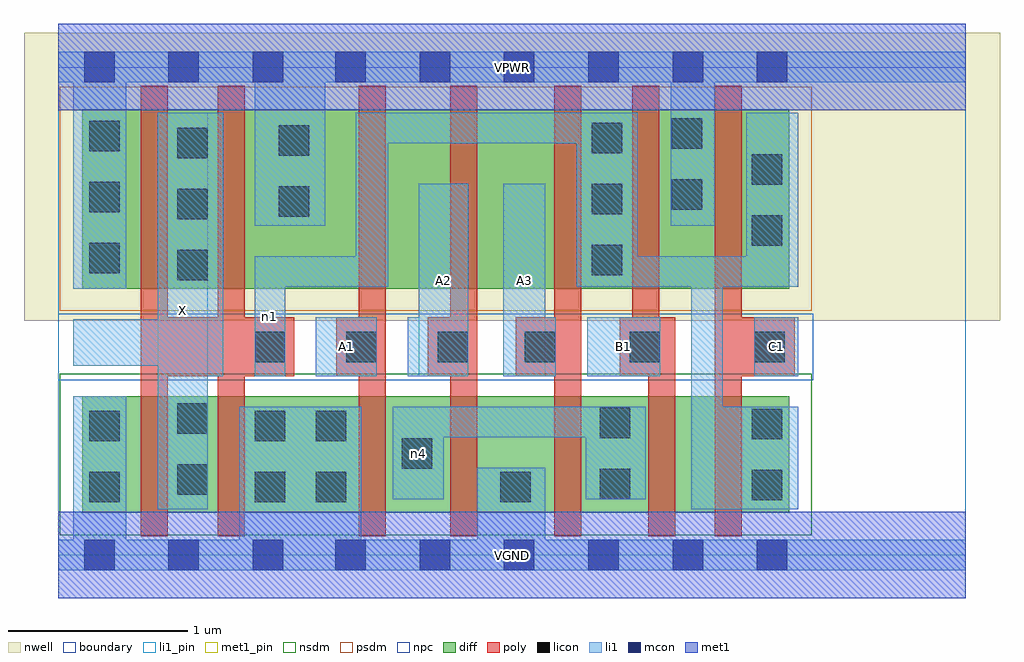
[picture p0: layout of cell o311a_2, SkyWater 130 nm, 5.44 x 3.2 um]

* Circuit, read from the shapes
.subckt o311a_2 A1 A2 A3 B1 C1 VGND VPWR X n1 n4
XM1 X n1 VGND VSUBS sky130_fd_pr__nfet_01v8 w=0.65 l=0.15 m=2
XM2 n4 A1 VGND VSUBS sky130_fd_pr__nfet_01v8 w=0.65 l=0.15
XM3 VGND A2 n4 VSUBS sky130_fd_pr__nfet_01v8 w=0.65 l=0.15
XM4 n4 A3 VGND VSUBS sky130_fd_pr__nfet_01v8 w=0.65 l=0.15
XM5 n2 B1 n4 VSUBS sky130_fd_pr__nfet_01v8 w=0.65 l=0.15
XM6 n1 C1 n2 VSUBS sky130_fd_pr__nfet_01v8 w=0.65 l=0.15
XM7 X n1 VPWR n3 sky130_fd_pr__pfet_01v8 w=1 l=0.15 m=2
XM8 n5 A1 VPWR n3 sky130_fd_pr__pfet_01v8 w=1 l=0.15
XM9 n6 A2 n5 n3 sky130_fd_pr__pfet_01v8 w=1 l=0.15
XM10 n1 A3 n6 n3 sky130_fd_pr__pfet_01v8 w=1 l=0.15
XM11 VPWR B1 n1 n3 sky130_fd_pr__pfet_01v8 w=1 l=0.15
XM12 n1 C1 VPWR n3 sky130_fd_pr__pfet_01v8 w=1 l=0.15
.ends

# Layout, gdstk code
import gdstk
lib = gdstk.Library(unit=1e-6, precision=1e-09)
def R(c, l, rs):  # rectangles x0, y0, x1, y1
    for r in rs: c.add(gdstk.rectangle(r[:2], r[2:], *l))
def A(c, l, x, y, w, h, nx, ny, dx, dy):  # array of equal rectangles
    R(c, l, [(x+i*dx, y+j*dy, x+i*dx+w, y+j*dy+h) for i in range(nx) for j in range(ny)])
nwell = (64, 20)
diff = (65, 20)
poly = (66, 20)
licon = (66, 44)
li1_pin = (67, 16)
li1 = (67, 20)
mcon = (67, 44)
met1_pin = (68, 16)
met1 = (68, 20)
nsdm = (93, 44)
psdm = (94, 20)
npc = (95, 20)
boundary = (235, 4)

o311a_2 = lib.new_cell('o311a_2')
R(o311a_2, nwell, [(-0.19,1.305,5.25,2.91), (0,1.305,5.06,2.91)])
R(o311a_2, diff, [(0.135,0.235,4.075,0.885), (0.135,1.485,4.075,2.485)])
R(o311a_2, poly, [(0.46,0.105,0.61,2.615), (0.89,0.105,1.04,2.615), (1.675,0.105,1.825,2.615), (2.185,0.105,2.335,2.615), (2.765,0.105,2.915,2.615), (3.29,0.105,3.44,1.325), (3.66,0.105,3.81,2.615), (0.46,0.995,1.315,1.325), (1.55,0.995,1.825,1.325), (2.06,0.995,2.335,1.325), (2.55,0.995,2.915,1.325), (3.13,0.995,3.44,1.325), (3.2,0.995,3.35,2.615), (3.66,0.995,4.105,1.325)])
A(o311a_2, licon, 1.095, 1.075, 0.17, 0.17, 3, 1, 0.51, 0)
A(o311a_2, licon, 0.665, 1.53, 0.17, 0.17, 1, 3, 0, 0.34)
A(o311a_2, licon, 2.975, 1.56, 0.17, 0.17, 1, 3, 0, 0.34)
A(o311a_2, licon, 0.175, 1.57, 0.17, 0.17, 1, 3, 0, 0.34)
R(o311a_2, licon, [(0.175,0.295,0.345,0.465), (1.095,0.295,1.265,0.465), (1.435,0.295,1.605,0.465), (2.465,0.295,2.635,0.465), (3.865,0.305,4.035,0.475), (3.02,0.31,3.19,0.48), (0.665,0.335,0.835,0.505), (1.915,0.48,2.085,0.65), (0.175,0.635,0.345,0.805), (1.095,0.635,1.265,0.805), (1.435,0.635,1.605,0.805), (3.865,0.645,4.035,0.815), (3.02,0.65,3.19,0.82), (0.665,0.675,0.835,0.845), (2.6,1.075,2.77,1.245), (3.185,1.075,3.355,1.245), (3.88,1.075,4.05,1.245), (3.865,1.725,4.035,1.895), (1.23,1.885,1.4,2.055), (3.42,1.925,3.59,2.095), (3.865,2.065,4.035,2.235), (1.23,2.225,1.4,2.395), (3.42,2.265,3.59,2.435)])
R(o311a_2, li1_pin, [(0.555,0.255,0.835,2.465), (1.435,0.995,1.775,1.325), (2.01,0.995,2.285,2.07), (2.48,0.995,2.715,2.07), (2.95,0.995,3.355,1.325), (3.88,0.995,4.125,1.325)])
R(o311a_2, li1, [(0,-0.085,5.06,0.085), (0.085,-0.085,0.38,0.885), (1.01,-0.085,1.69,0.825), (2.335,-0.085,2.715,0.485), (0.555,0.255,0.835,2.465), (3.53,0.255,4.125,0.825), (3.53,0.255,3.705,1.665), (1.865,0.31,2.15,0.825), (2.94,0.31,3.275,0.825), (1.865,0.655,3.275,0.825), (0.555,0.995,0.92,2.465), (1.095,0.995,1.265,1.665), (1.435,0.995,1.775,1.325), (1.95,0.995,2.285,1.325), (2.01,0.995,2.285,2.07), (2.48,0.995,2.715,2.07), (2.48,0.995,2.775,1.325), (2.95,0.995,3.355,1.325), (3.88,0.995,4.125,1.325), (0.085,1.055,0.92,1.315), (0.085,1.485,0.38,2.805), (1.095,1.495,1.84,1.665), (1.66,1.495,1.84,2.465), (2.89,1.495,3.23,2.465), (2.89,1.495,4.125,1.665), (3.835,1.495,4.125,2.465), (1.095,1.835,1.49,2.805), (3.415,1.835,3.66,2.805), (1.66,2.295,3.23,2.465), (0,2.635,5.06,2.805)])
A(o311a_2, mcon, 0.145, -0.085, 0.17, 0.17, 3, 2, 0.47, 2.72)
A(o311a_2, mcon, 1.545, -0.085, 0.17, 0.17, 6, 2, 0.47, 2.72)
R(o311a_2, met1_pin, [(0,-0.24,5.06,0.24), (0,2.48,5.06,2.96)])
R(o311a_2, met1, [(0,-0.24,5.06,0.24), (0,2.48,5.06,2.96)])
R(o311a_2, nsdm, [(0.01,0.11,4.2,1.01)])
R(o311a_2, psdm, [(0.01,1.36,4.2,2.61)])
R(o311a_2, npc, [(0,0.975,4.21,1.345)])
R(o311a_2, boundary, [(0,0,5.06,2.72)])
o311a_2.add(gdstk.Label('A1', (1.605,1.16), layer=67, texttype=5))
o311a_2.add(gdstk.Label('A2', (2.147,1.532), layer=67, texttype=5))
o311a_2.add(gdstk.Label('A3', (2.597,1.532), layer=67, texttype=5))
o311a_2.add(gdstk.Label('B1', (3.152,1.16), layer=67, texttype=5))
o311a_2.add(gdstk.Label('C1', (4.002,1.16), layer=67, texttype=5))
o311a_2.add(gdstk.Label('X', (0.695,1.36), layer=67, texttype=5))
o311a_2.add(gdstk.Label('n4', (2.007,0.567), layer=67, texttype=5))
o311a_2.add(gdstk.Label('n1', (1.18,1.33), layer=67, texttype=5))
o311a_2.add(gdstk.Label('VPWR', (2.53,2.72), layer=68, texttype=5))
o311a_2.add(gdstk.Label('VGND', (2.53,0), layer=68, texttype=5))
o311a_2.add(gdstk.Label('A1', (1.605,1.16), layer=67, texttype=16))
o311a_2.add(gdstk.Label('A2', (2.147,1.532), layer=67, texttype=16))
o311a_2.add(gdstk.Label('A3', (2.597,1.532), layer=67, texttype=16))
o311a_2.add(gdstk.Label('B1', (3.152,1.16), layer=67, texttype=16))
o311a_2.add(gdstk.Label('C1', (4.002,1.16), layer=67, texttype=16))
o311a_2.add(gdstk.Label('X', (0.695,1.36), layer=67, texttype=16))
o311a_2.add(gdstk.Label('VPWR', (2.53,2.72), layer=68, texttype=16))
o311a_2.add(gdstk.Label('VGND', (2.53,0), layer=68, texttype=16))

lib.write_gds('o311a_2.gds')
